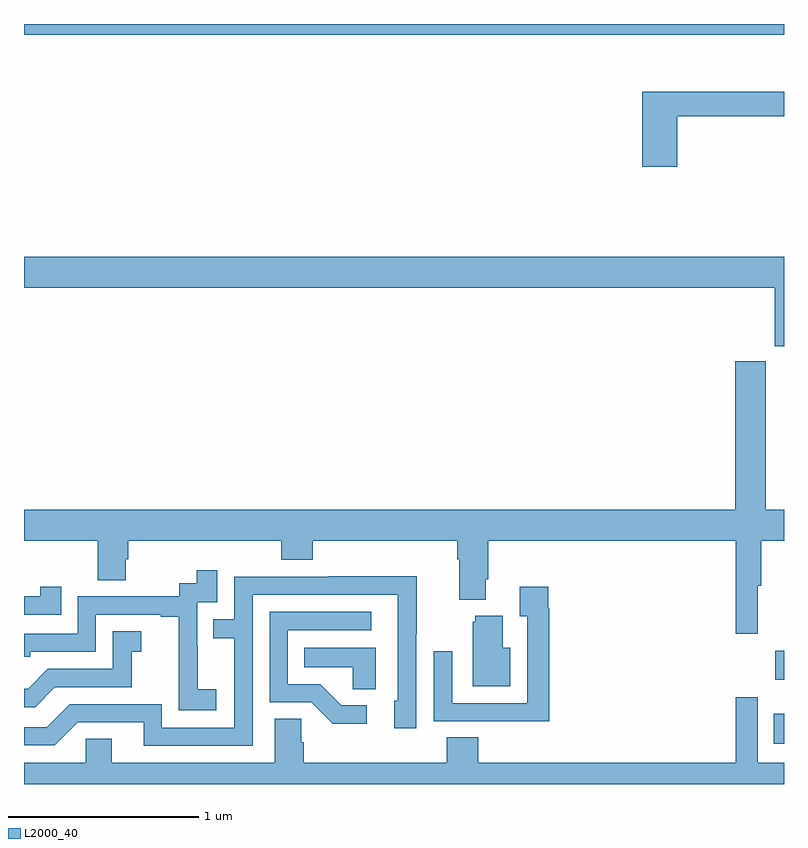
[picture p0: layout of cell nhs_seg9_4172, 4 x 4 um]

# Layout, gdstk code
import gdstk
lib = gdstk.Library(unit=1e-6, precision=1e-09)
def R(c, l, rs):  # rectangles x0, y0, x1, y1
    for r in rs: c.add(gdstk.rectangle(r[:2], r[2:], *l))
def P(c, l, *ps):  # polygons
    for p in ps: c.add(gdstk.Polygon(p, *l))
L2000_40 = (2000, 40)

nhs_seg9_4172 = lib.new_cell('nhs_seg9_4172')
R(nhs_seg9_4172, L2000_40, [(354.946,1168.712,355,1168.87), (354.954,1169.048,355,1169.201), (351,1172.444,355,1172.5)])
P(nhs_seg9_4172, L2000_40, [(354.437,1172.014),(355,1172.014),(355,1172.143),(354.254,1172.143),(354.254,1171.749),(354.437,1171.749)],
  [(355,1171.276),(351,1171.276),(351,1171.112),(354.95,1171.112),(354.95,1170.803),(355,1170.803)],
  [(354.863,1169.544),(354.881,1169.544),(354.881,1169.78),(355,1169.78),(355,1169.944),(354.903,1169.944),(354.903,1170.724),(354.743,1170.724),(354.743,1169.944),(351,1169.944),(351,1169.78),(351.388,1169.78),(351.388,1169.572),(351.535,1169.572),(351.535,1169.682),(351.548,1169.682),(351.548,1169.78),(352.355,1169.78),(352.355,1169.681),(352.52,1169.681),(352.52,1169.78),(353.279,1169.78),(353.279,1169.684),(353.291,1169.684),(353.291,1169.471),(353.431,1169.471),(353.431,1169.578),(353.444,1169.578),(353.444,1169.78),(354.745,1169.78),(354.745,1169.292),(354.863,1169.292)],
  [(352.012,1168.999),(351.914,1168.999),(351.914,1169.228),(351.912,1169.228),(351.912,1169.457),(352.017,1169.457),(352.017,1169.626),(351.909,1169.626),(351.909,1169.556),(351.816,1169.556),(351.816,1169.487),(351.282,1169.487),(351.282,1169.292),(351,1169.292),(351,1169.169),(351.033,1169.169),(351.033,1169.196),(351.378,1169.196),(351.378,1169.391),(351.719,1169.391),(351.719,1169.379),(351.815,1169.379),(351.815,1169.095),(351.814,1169.095),(351.814,1168.889),(352.012,1168.889)],
  [(352.203,1169.496),(352.968,1169.496),(352.968,1168.938),(352.949,1168.938),(352.949,1168.794),(353.064,1168.794),(353.064,1169.287),(353.067,1169.287),(353.067,1169.594),(352.603,1169.594),(352.603,1169.592),(352.107,1169.592),(352.107,1169.367),(351.997,1169.367),(351.997,1169.266),(352.107,1169.266),(352.107,1168.797),(351.726,1168.797),(351.726,1168.92),(351.24,1168.92),(351.12,1168.8),(351,1168.8),(351,1168.704),(351.162,1168.704),(351.282,1168.824),(351.629,1168.824),(351.629,1168.701),(352.203,1168.701)],
  [(351.197,1169.539),(351.086,1169.539),(351.086,1169.487),(351,1169.487),(351,1169.391),(351.197,1169.391)],
  [(353.765,1169.426),(353.758,1169.426),(353.758,1169.539),(353.609,1169.539),(353.609,1169.383),(353.649,1169.383),(353.649,1168.926),(353.253,1168.926),(353.253,1169.2),(353.157,1169.2),(353.157,1168.83),(353.473,1168.83),(353.473,1168.829),(353.765,1168.829)],
  [(352.804,1168.914),(352.669,1168.914),(352.558,1169.025),(352.389,1169.025),(352.389,1169.31),(352.828,1169.31),(352.828,1169.406),(352.293,1169.406),(352.293,1168.929),(352.512,1168.929),(352.625,1168.817),(352.804,1168.817)],
  [(353.56,1169.218),(353.521,1169.218),(353.521,1169.386),(353.375,1169.386),(353.375,1169.355),(353.363,1169.355),(353.363,1169.015),(353.56,1169.015)],
  [(351.163,1169.01),(351.567,1169.01),(351.567,1169.195),(351.616,1169.195),(351.616,1169.305),(351.468,1169.305),(351.468,1169.106),(351.126,1169.106),(351.022,1169.002),(351,1169.002),(351,1168.905),(351.058,1168.905)],
  [(352.852,1169.218),(352.474,1169.218),(352.474,1169.114),(352.731,1169.114),(352.731,1168.999),(352.852,1168.999)],
  [(353.39,1168.745),(353.225,1168.745),(353.225,1168.612),(352.472,1168.612),(352.472,1168.721),(352.458,1168.721),(352.458,1168.844),(352.319,1168.844),(352.319,1168.612),(351.463,1168.612),(351.463,1168.739),(351.324,1168.739),(351.324,1168.612),(351,1168.612),(351,1168.5),(355,1168.5),(355,1168.612),(354.861,1168.612),(354.861,1168.957),(354.745,1168.957),(354.745,1168.612),(353.39,1168.612)])

lib.write_gds('nhs_seg9_4172.gds')
